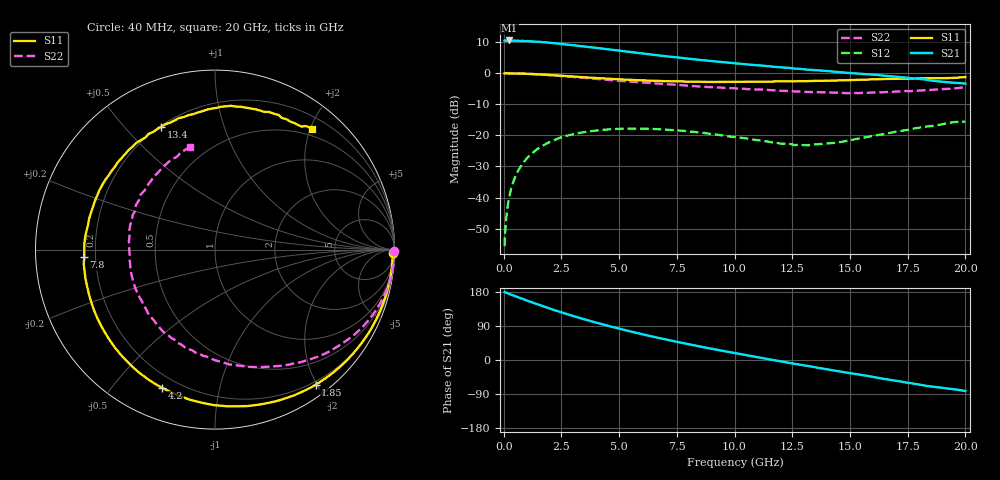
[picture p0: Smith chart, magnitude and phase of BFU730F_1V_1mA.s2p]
! Filename:  P:\Prog\Test\Noise\ATS_data\Testdata_Net\Split files Spar\BFU730_2W_B1_1V_1mA_30mA_Bias1_D.s2p
! Date/Time: Fri 29/Apr/2011 14:15:58
! BFU730_2W_B1_1V_1mA_30mA_Bias1_R.s2p
! MDIF S-parameter v. bias file
! BFU730_2W_B1_1V_1mA_30mA
! Date/time Thu Mar 17 14:34:31 2011
! bias mode 1
! bias variable = I_out
! VAR bias_var= 1
! VAR V_out= 1.0001
! VAR I_out= 1.0100
! VAR V_in= 0.7469
! VAR I_in= 0.0026
! Device data file deembeded for feedlines and parallel
! Original file: \Split files Spar\BFU730_2W_B1_1V_1mA_30mA_Bias1_R.s2p
! Feed-files: PR003V01_101208_Feed1.s2p, PR003V01_101208_Feed2.s2p
! Parallel-file: PR003V01_101208_Par.s2p
# MHz S MA R 50
!  Freq-MHz  S11-mag  S11-arg  S21-mag  S21-arg  S12-mag  S12-arg  S22-mag  S22-arg
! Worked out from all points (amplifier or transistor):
!   167 points, 40 MHz to 20 GHz, reference 50 ohm
!   highest |S21| = 10.5 dB at 240 MHz (marker M1)
!   |S21| within 3 dB of that: start of sweep to 4.679 GHz
!   unconditionally stable (mu >= 1): 9.693 GHz to 19.28 GHz
!   at 550 MHz: K = 0.01, MSG = 21.5 dB, |S12| = -32.5 dB
!   at 4.2 GHz: K = 0.28, MSG = 13.1 dB, |S12| = -18.3 dB
!   at 20 GHz: K = 0.83, MSG = 6.1 dB, |S12| = -15.6 dB
!   S11 on the Smith chart (normalised r, x): 40 MHz: 34, -79; 1.85 GHz: 0.16, -1.98; 4.2 GHz: 0.14, -0.68; 7.8 GHz: 0.16, -0.03; 13.4 GHz: 0.20, +0.63; 20 GHz: 0.38, +2.02
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40  0.9908 -1.2  3.321 179.4  0.001661 88.8  0.9996 -0.6
50  0.9907 -2.0  3.333 178.8  0.002463 95.6  0.999 -0.7
120  0.9904 -3.5  3.317 177.3  0.005061 88.5  0.9994 -1.7
240  0.9893 -7.1  3.341 174.4  0.01023 86.7  0.9987 -3.4
460  0.9866 -13.6  3.328 169.3  0.01984 82.3  0.9952 -6.5
800  0.9786 -23.6  3.302 161.6  0.03435 75.1  0.9864 -11.4
1400  0.9579 -40.8  3.2 148.3  0.05805 63.2  0.9616 -19.6
1850  0.9385 -53.4  3.101 138.7  0.07365 54.9  0.9382 -25.4
2500  0.9046 -70.6  2.938 125.6  0.09316 43.5  0.8981 -33.4
3400  0.8608 -92.8  2.699 109.0  0.1113 29.1  0.8441 -43.3
4200  0.8245 -110.8  2.486 95.4  0.1218 17.9  0.7951 -51.4
4900  0.7978 -125.6  2.31 84.2  0.1268 8.9  0.757 -58.1
5600  0.7738 -139.3  2.149 73.7  0.1286 0.6  0.722 -64.7
6800  0.7451 -160.6  1.903 57.2  0.1248 -11.8  0.6717 -75.5
7800  0.7307 -176.7  1.735 44.1  0.1184 -20.5  0.634 -85.1
8800  0.7206 168.7  1.585 32.0  0.1077 -27.1  0.5979 -94.4
10200  0.7241 150.1  1.42 16.0  0.09263 -31.9  0.5621 -109.3
11600  0.7301 133.3  1.274 0.6  0.07717 -32.2  0.5303 -126.5
13400  0.7473 113.6  1.123 -18.1  0.07172 -19.5  0.4954 -150.4
14600  0.7634 101.1  1.031 -30.7  0.07817 -11.5  0.4801 -169.6
16800  0.8085 79.9  0.8827 -52.8  0.1106 -10.3  0.495 154.1
20000  0.8635 51.4  0.6766 -82.1  0.1666 -28.6  0.5882 103.8
